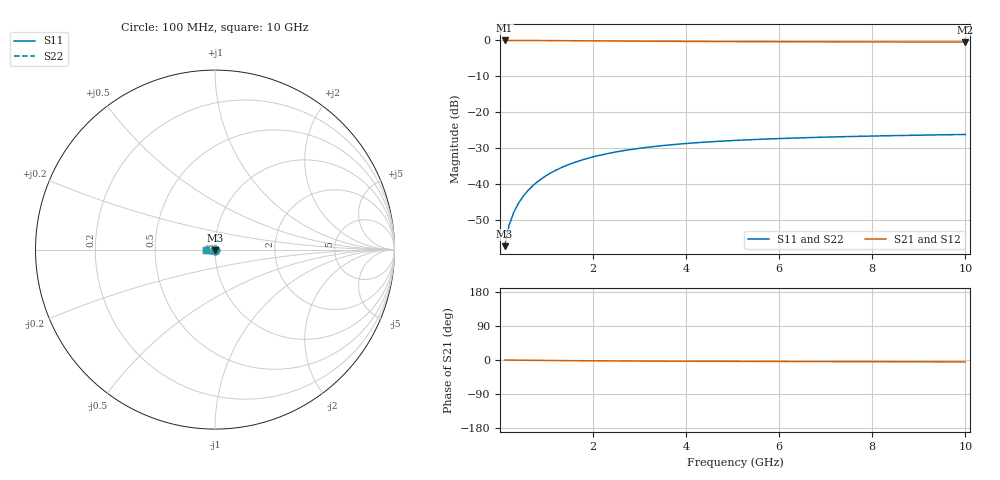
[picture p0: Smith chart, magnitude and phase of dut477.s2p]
! Touchstone file exported from HFSS 2024.1.0
!  File:  C:/UserFiles/LocalFiles/RDL_TSV_Batchsim/temp_TSV1_477_1779698991.aedt
!  Generated:  04:56:56 PM May 25, 2026
!  Design:  TSV1
!  Project:  temp_TSV1_477_1779698991
!  Setup:  Setup1
!  Solution:  Sweep
! Variables:
!  dtsv = 11.38um
!  hbump = 3um
!  htsv = 78.38um
!  lrdl = 252.1521522um
!  p = 40
!  p1 = 49.98um
!  t = 500um
!  trdl = 3um
!  wrdl = 24.89489489um
# GHz S MA R 50.000000
! Terminal data exported
! Port[1] = TSV22_T1
! Port[2] = TSV22_T2
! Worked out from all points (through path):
!   100 points, 100 MHz to 10 GHz, reference 50 ohm
!   highest |S21| = 0.00 dB at 100 MHz (marker M1); lowest = -0.4 dB at 10 GHz (marker M2)
!   lowest |S11| = -57.4 dB at 100 MHz (marker M3), VSWR 1.00, Z = 50 - j0.136 ohm
!   |S11| at or under -10 dB: start of sweep to end of sweep
!   |S22| runs from -57.4 to -26.2 dB; largest |S21 - S12| = 1.5e-14
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0.1  0.001357 -87.1  0.9998 -0.1  0.9998 -0.1  0.001357 -87.1
! Gamma 0 0 0 0
! Port Impedance 50 0 50 0
0.2  0.002707 -91.0  0.9997 -0.3  0.9997 -0.3  0.002707 -91.0
0.3  0.004057 -93.4  0.9995 -0.4  0.9995 -0.4  0.004057 -93.4
0.4  0.005402 -95.5  0.9992 -0.5  0.9992 -0.5  0.005402 -95.5
0.5  0.006737 -97.5  0.9988 -0.6  0.9988 -0.6  0.006737 -97.5
0.6  0.008058 -99.4  0.9983 -0.7  0.9983 -0.7  0.008058 -99.4
0.7  0.009361 -101.2  0.9978 -0.9  0.9978 -0.9  0.009361 -101.2
0.8  0.01064 -103.0  0.9972 -1.0  0.9972 -1.0  0.01064 -103.0
0.9  0.0119 -104.8  0.9966 -1.1  0.9966 -1.1  0.0119 -104.8
1.1  0.01434 -108.2  0.9952 -1.3  0.9952 -1.3  0.01434 -108.2
1.4  0.01778 -113.0  0.9927 -1.6  0.9927 -1.6  0.01778 -113.0
1.6  0.01992 -116.1  0.991 -1.8  0.991 -1.8  0.01992 -116.1
1.8  0.02192 -119.0  0.9891 -2.0  0.9891 -2.0  0.02192 -119.0
2.1  0.02469 -123.1  0.9863 -2.2  0.9863 -2.2  0.02469 -123.1
2.5  0.02794 -128.2  0.9825 -2.5  0.9825 -2.5  0.02794 -128.2
2.9  0.03074 -132.8  0.979 -2.7  0.979 -2.7  0.03074 -132.8
3.4  0.0337 -138.0  0.9749 -2.9  0.9749 -2.9  0.0337 -138.0
4.2  0.03743 -145.1  0.9692 -3.3  0.9692 -3.3  0.03743 -145.1
5.1  0.04055 -151.7  0.9641 -3.6  0.9641 -3.6  0.04055 -151.7
6.7  0.04437 -161.0  0.9576 -4.1  0.9576 -4.1  0.04437 -161.0
8.4  0.04706 -168.8  0.953 -4.6  0.953 -4.6  0.04706 -168.8
10  0.04891 -174.8  0.95 -5.1  0.95 -5.1  0.04891 -174.8
